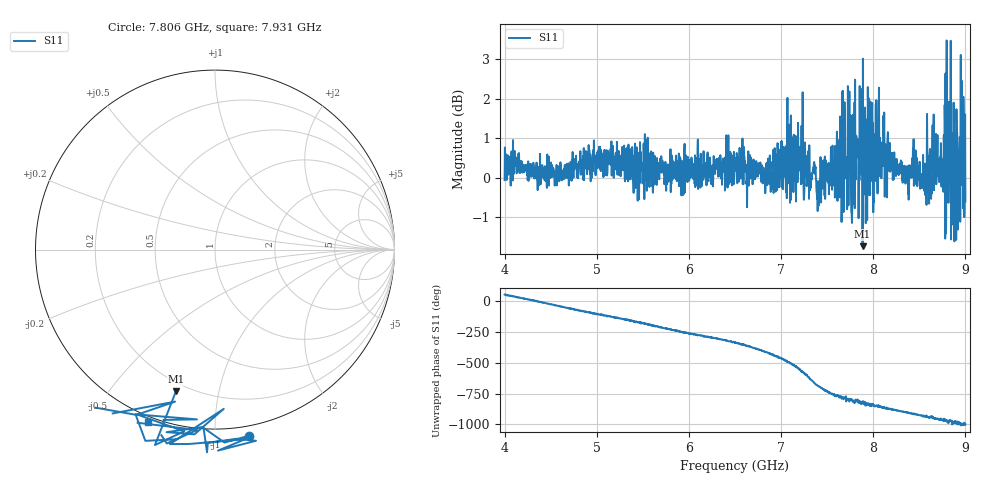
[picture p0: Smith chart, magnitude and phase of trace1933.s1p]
! Created with skrf 1.8.0 (http://scikit-rf.org).
# Hz S RI R 50.0
!freq ReS11 ImS11
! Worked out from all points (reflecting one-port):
!   1601 points, 4 GHz to 9 GHz, reference 50 ohm
!   lowest |S11| = -1.7 dB at 7.884 GHz (marker M1), VSWR 10.05, Z = 7.82 - j37.5 ohm
!   phase of S11 starts at 51 deg and turns -1050 deg over the sweep
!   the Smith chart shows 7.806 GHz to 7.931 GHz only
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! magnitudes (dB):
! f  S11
! 4 GHz  -0.1
! 4.1 GHz  0.1
! 4.625 GHz  -0.1
! 5.25 GHz  0.1
! 5.875 GHz  0.4
! 6.5 GHz  0.2
! 6.809 GHz  0.3
! 7.125 GHz  0.6
! 7.356 GHz  0.4
! 7.409 GHz  -0.7
! 7.688 GHz  1.9
! 7.75 GHz  1.0
! 7.769 GHz  -1.1
! 7.8 GHz  -0.8
! 7.884 GHz  -1.7
! 7.941 GHz  2.3
! 7.962 GHz  1.9
! 7.997 GHz  0.7
! 8.05 GHz  1.2
! 8.375 GHz  0.2
! 8.441 GHz  -0.2
! 8.553 GHz  -0.3
! 8.662 GHz  0.4
! 8.766 GHz  1.1
! 8.816 GHz  -0.6
! 8.869 GHz  -0.9
! 8.972 GHz  0.8
! 9 GHz  -0.6
